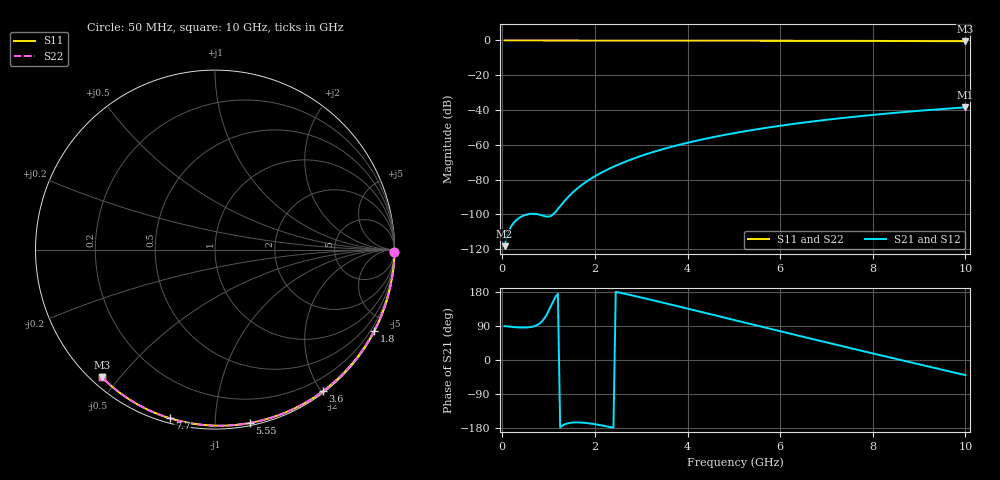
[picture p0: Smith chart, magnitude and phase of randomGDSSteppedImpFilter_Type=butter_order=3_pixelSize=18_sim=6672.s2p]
! freq	dB(S11)	phase(S11)	dB(S12)	phase(S12)
!  dB(S21)	phase(S21)	dB(S22)	phase(S22)
!S-par simulation data
#  GHz  S  DB  R 50
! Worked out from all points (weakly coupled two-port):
!   200 points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, 50 MHz to 10 GHz, reference 50 ohm
!   highest |S21| = -38.47 dB at 10 GHz (marker M1); lowest = -118.3 dB at 50 MHz (marker M2)
!   lowest |S11| = -0.4 dB at 10 GHz (marker M3), VSWR 39.06, Z = 1.54 - j22.5 ohm
!   |S11| at or under -10 dB: nowhere
!   |S22| runs from -0.4 to 0.0 dB; largest |S21 - S12| = 0
!   S11 on the Smith chart (normalised r, x): 50 MHz: open; 1.8 GHz: 0.04, -4.17; 3.6 GHz: 0.02, -2.02; 5.55 GHz: 0.02, -1.22; 7.7 GHz: 0.02, -0.77; 10 GHz: 0.03, -0.45
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0.05  -0.00 -0.8  -118.30 89.3  -118.30 89.3  -0.00 -0.8
0.9  -0.02 -13.6  -100.98 108.6  -100.98 108.6  -0.02 -13.6
1.75  -0.03 -26.2  -82.42 -165.5  -82.42 -165.5  -0.03 -26.2
1.8  -0.03 -26.9  -81.47 -166.1  -81.47 -166.1  -0.03 -26.9
1.85  -0.04 -27.7  -80.58 -166.9  -80.58 -166.9  -0.04 -27.7
1.9  -0.04 -28.4  -79.71 -167.7  -79.71 -167.7  -0.04 -28.4
2.05  -0.04 -30.6  -77.32 -170.5  -77.32 -170.5  -0.04 -30.6
2.25  -0.04 -33.5  -74.50 -175.0  -74.50 -175.0  -0.04 -33.5
2.45  -0.05 -36.4  -72.01 180.0  -72.01 180.0  -0.05 -36.4
2.65  -0.05 -39.3  -69.78 174.7  -69.78 174.7  -0.05 -39.3
3  -0.06 -44.3  -66.36 164.9  -66.36 164.9  -0.06 -44.3
3.4  -0.07 -49.9  -63.02 153.4  -63.02 153.4  -0.07 -49.9
3.6  -0.07 -52.7  -61.52 147.5  -61.52 147.5  -0.07 -52.7
4.3  -0.09 -62.3  -57.01 126.7  -57.01 126.7  -0.09 -62.3
5.05  -0.11 -72.2  -53.08 104.3  -53.08 104.3  -0.11 -72.2
5.55  -0.13 -78.7  -50.85 89.4  -50.85 89.4  -0.13 -78.7
6.1  -0.15 -85.7  -48.68 73.0  -48.68 73.0  -0.15 -85.7
6.7  -0.18 -93.1  -46.58 55.2  -46.58 55.2  -0.18 -93.1
7.7  -0.24 -105.1  -43.60 26.0  -43.60 26.0  -0.24 -105.1
8.35  -0.29 -112.7  -41.93 7.2  -41.93 7.2  -0.29 -112.7
9.15  -0.36 -121.9  -40.13 -15.7  -40.13 -15.7  -0.36 -121.9
10  -0.44 -131.5  -38.47 -39.9  -38.47 -39.9  -0.44 -131.5
